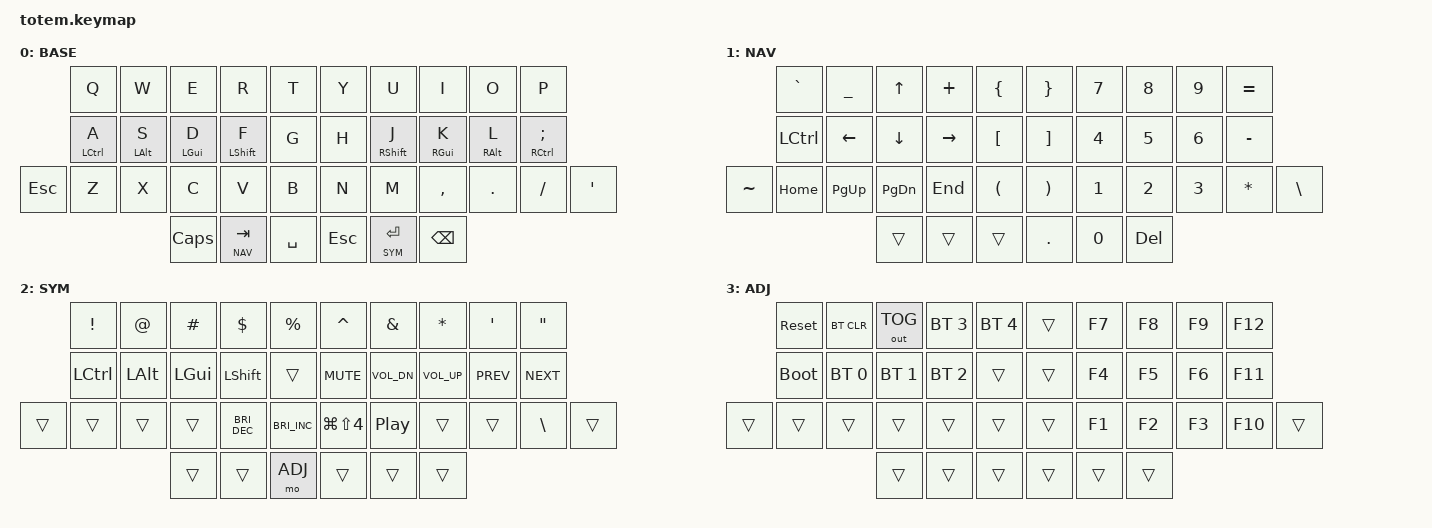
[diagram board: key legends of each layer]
//
//                                                        ▀▀▀▀▀     ▀▀▀▀▀          ▀▀█▀▀
//                                                        ▄▀▀▀▄  ▄  ▄▀▀▀▄  ▄  ▄▀▀▀▄  █  ▄▀▀▀▄
//                                                        █   █  █  █   █  █  █   █  █  █   █
//                                                         ▀▀▀   █   ▀▀▀   █   ▀▀▀   ▀   ▀▀▀
//                                                               █      ▄▄▄█▄▄▄    █   █  
//                                                               ▀      █  █  █     █▄█
//                                                             ▀▀▀▀▀    █  █  █      ▀
//                                                                      ▀  ▀  ▀
//
// ▄▄▄▄▄▄▄▄▄▄▄▄▄▄▄▄▄▄▄▄▄▄▄▄▄▄▄▄▄▄▄▄▄▄▄▄▄▄▄▄▄▄▄▄▄▄▄▄▄▄▄▄▄▄▄▄▄▄▄▄▄▄▄▄▄▄▄▄▄▄▄▄▄▄▄▄▄▄▄▄▄▄▄▄▄▄▄▄▄▄▄▄▄▄▄▄▄▄▄▄▄▄▄▄▄▄▄▄▄▄▄▄▄▄▄▄▄▄▄▄▄▄▄▄▄▄▄▄▄▄▄▄▄▄▄▄▄▄▄▄▄▄▄▄▄▄▄▄▄
//
// TOTEM Keymap — macOS optimized with RU/EN support
// 
// Home Row Mods (при удержании):
//   A = Control (⌃)
//   S = Option (⌥) 
//   D = Command (⌘)
//   F = Shift (⇧)
//   J = Shift (⇧)
//   K = Command (⌘)
//   L = Option (⌥)
//   ; = Control (⌃)
//
// Переключение RU/EN: Caps Lock (левый thumb)
// Настройка macOS: System Settings → Keyboard → Input Sources → "Use Caps Lock key to switch..."
//
// ▄▄▄▄▄▄▄▄▄▄▄▄▄▄▄▄▄▄▄▄▄▄▄▄▄▄▄▄▄▄▄▄▄▄▄▄▄▄▄▄▄▄▄▄▄▄▄▄▄▄▄▄▄▄▄▄▄▄▄▄▄▄▄▄▄▄▄▄▄▄▄▄▄▄▄▄▄▄▄▄▄▄▄▄▄▄▄▄▄▄▄▄▄▄▄▄▄▄▄▄▄▄▄▄▄▄▄▄▄▄▄▄▄▄▄▄▄▄▄▄▄▄▄▄▄▄▄▄▄▄▄▄▄▄▄▄▄▄▄▄▄▄▄▄▄▄▄▄▄

#include <behaviors.dtsi>
#include <dt-bindings/zmk/bt.h>
#include <dt-bindings/zmk/keys.h>
#include <dt-bindings/zmk/outputs.h>

#define BASE 0
#define NAV  1
#define SYM  2
#define ADJ  3

&mt {
    quick-tap-ms = <150>;
    global-quick-tap;
    flavor = "tap-preferred";
    tapping-term-ms = <170>;
};

/ {
    combos {
        compatible = "zmk,combos";

        // Tab по Q+W
        combo_tab {
            timeout-ms = <60>;
            key-positions = <0 1>;
            bindings = <&kp TAB>;
            require-prior-idle-ms = <120>;
        };

        // Тире по L+/
        dash {
            bindings = <&kp MINUS>;
            key-positions = <19 31>;
            timeout-ms = <70>;
        };

        // Тильда по Q+Z
        tilde_combo {
            bindings = <&kp TILDE>;
            key-positions = <0 20>;
            timeout-ms = <60>;
            require-prior-idle-ms = <100>;
        };

        // Enter по D+F+G (левая рука)
        enter_combo {
            bindings = <&kp ENTER>;
            key-positions = <13 12 11>;
            timeout-ms = <70>;
            require-prior-idle-ms = <100>;
        };

        // Enter по H+J+K (правая рука)
        enter_right_combo {
            bindings = <&kp ENTER>;
            key-positions = <16 18 17>;
            timeout-ms = <70>;
            require-prior-idle-ms = <100>;
        };

        // Русская Ъ — по I+O
        russian_letter_hard_sign {
            bindings = <&kp RIGHT_BRACKET>;
            key-positions = <8 9>;
            timeout-ms = <20>;
            require-prior-idle-ms = <100>;
        };

        // Русская Х — по U+I
        russian_letter_x {
            bindings = <&kp LEFT_BRACKET>;
            key-positions = <8 7>;
            require-prior-idle-ms = <100>;
            timeout-ms = <20>;
        };

        // Русская Ё — по Esc+Q (или можно другую комбинацию)
        russian_letter_yo {
            bindings = <&kp GRAVE>;
            key-positions = <20 0>;
            timeout-ms = <50>;
            require-prior-idle-ms = <100>;
        };
    };

    behaviors {
        // Home row mod для левой руки
        hml: home_row_mod_left {
            compatible = "zmk,behavior-hold-tap";
            label = "HOME_ROW_MOD_LEFT";
            bindings = <&kp>, <&kp>;
            #binding-cells = <2>;
            tapping-term-ms = <280>;
            quick-tap-ms = <175>;
            flavor = "balanced";
            hold-trigger-key-positions = <5 6 7 8 9 15 16 17 18 19 25 26 27 28 29 30 31 33 34 35>;
            require-prior-idle-ms = <150>;
            hold-trigger-on-release;
        };

        // Home row mod для правой руки
        hmr: home_row_mod_right {
            compatible = "zmk,behavior-hold-tap";
            label = "HOME_ROW_MOD_RIGHT";
            bindings = <&kp>, <&kp>;
            #binding-cells = <2>;
            tapping-term-ms = <280>;
            quick-tap-ms = <175>;
            flavor = "balanced";
            hold-trigger-key-positions = <0 1 2 3 4 10 11 12 13 14 20 21 22 23 24 25 32 33 34>;
            require-prior-idle-ms = <150>;
            hold-trigger-on-release;
        };

        // Для thumb клавиш — быстрее срабатывание
        mt_thumb: mt_thumb {
            compatible = "zmk,behavior-hold-tap";
            label = "MT_THUMB";
            bindings = <&kp>, <&kp>;
            #binding-cells = <2>;
            quick-tap-ms = <220>;
            flavor = "balanced";
            tapping-term-ms = <200>;
            require-prior-idle-ms = <0>;
        };
    };

    keymap {
        compatible = "zmk,keymap";

        // ▄▄▄▄▄▄▄▄▄▄▄▄▄▄▄▄▄▄▄▄▄▄▄▄▄▄▄▄▄▄▄▄▄▄▄▄▄▄▄▄▄▄▄▄▄▄▄▄▄▄▄▄▄▄▄▄▄▄▄▄▄▄▄▄▄▄▄▄▄▄▄▄▄▄▄▄▄▄▄▄▄▄▄▄▄▄▄▄▄▄▄▄▄▄▄▄▄▄▄▄▄▄▄▄▄▄▄▄▄▄▄▄▄▄▄▄▄▄▄▄▄▄▄▄▄▄▄▄▄▄▄▄▄▄▄▄▄▄▄▄▄▄▄▄▄▄▄▄▄
        // Layer 0: BASE — QWERTY с Home Row Mods для macOS
        // ▄▄▄▄▄▄▄▄▄▄▄▄▄▄▄▄▄▄▄▄▄▄▄▄▄▄▄▄▄▄▄▄▄▄▄▄▄▄▄▄▄▄▄▄▄▄▄▄▄▄▄▄▄▄▄▄▄▄▄▄▄▄▄▄▄▄▄▄▄▄▄▄▄▄▄▄▄▄▄▄▄▄▄▄▄▄▄▄▄▄▄▄▄▄▄▄▄▄▄▄▄▄▄▄▄▄▄▄▄▄▄▄▄▄▄▄▄▄▄▄▄▄▄▄▄▄▄▄▄▄▄▄▄▄▄▄▄▄▄▄▄▄▄▄▄▄▄▄▄

        base_layer {
            label = "BASE";
            //             ┏━━━━━━━━━━━┳━━━━━━━━━━━┳━━━━━━━━━━━┳━━━━━━━━━━━┳━━━━━━━━━━━┓   ┏━━━━━━━━━━━┳━━━━━━━━━━━┳━━━━━━━━━━━┳━━━━━━━━━━━┳━━━━━━━━━━━┓
            //             ┃     Q     ┃     W     ┃     E     ┃     R     ┃     T     ┃   ┃     Y     ┃     U     ┃     I     ┃     O     ┃     P     ┃
            //             ┃     Й     ┃     Ц     ┃     У     ┃     К     ┃     Е     ┃   ┃     Н     ┃     Г     ┃     Ш     ┃     Щ     ┃     З     ┃
            //             ┣━━━━━━━━━━━╋━━━━━━━━━━━╋━━━━━━━━━━━╋━━━━━━━━━━━╋━━━━━━━━━━━┫   ┣━━━━━━━━━━━╋━━━━━━━━━━━╋━━━━━━━━━━━╋━━━━━━━━━━━╋━━━━━━━━━━━┫
            //             ┃   A/⌃     ┃   S/⌥     ┃   D/⌘     ┃   F/⇧     ┃     G     ┃   ┃     H     ┃   J/⇧     ┃   K/⌘     ┃   L/⌥     ┃   ;/⌃     ┃
            //             ┃     Ф     ┃     Ы     ┃     В     ┃     А     ┃     П     ┃   ┃     Р     ┃     О     ┃     Л     ┃     Д     ┃     Ж     ┃
            // ┏━━━━━━━━━━━╋━━━━━━━━━━━╋━━━━━━━━━━━╋━━━━━━━━━━━╋━━━━━━━━━━━╋━━━━━━━━━━━┫   ┣━━━━━━━━━━━╋━━━━━━━━━━━╋━━━━━━━━━━━╋━━━━━━━━━━━╋━━━━━━━━━━━╋━━━━━━━━━━━┓
            // ┃    ESC    ┃     Z     ┃     X     ┃     C     ┃     V     ┃     B     ┃   ┃     N     ┃     M     ┃     ,     ┃     .     ┃     /     ┃     '     ┃
            // ┃           ┃     Я     ┃     Ч     ┃     С     ┃     М     ┃     И     ┃   ┃     Т     ┃     Ь     ┃     Б     ┃     Ю     ┃     .     ┃     Э     ┃
            // ┗━━━━━━━━━━━┻━━━━━━━━━━━┻━━━━━━━━━━━╋━━━━━━━━━━━╋━━━━━━━━━━━╋━━━━━━━━━━━┫   ┣━━━━━━━━━━━╋━━━━━━━━━━━╋━━━━━━━━━━━╋━━━━━━━━━━━┻━━━━━━━━━━━┻━━━━━━━━━━━┛
            //                                     ┃  CAPS/⇪   ┃  TAB/NAV  ┃   SPACE   ┃   ┃    ESC    ┃ ENTER/SYM ┃   BSPC    ┃
            //                                     ┃   RU/EN   ┃           ┃           ┃   ┃           ┃           ┃           ┃
            //                                     ┗━━━━━━━━━━━┻━━━━━━━━━━━┻━━━━━━━━━━━┛   ┗━━━━━━━━━━━┻━━━━━━━━━━━┻━━━━━━━━━━━┛

            bindings = <
                         &kp Q            &kp W            &kp E            &kp R            &kp T        &kp Y    &kp U            &kp I            &kp O            &kp P
                         &hml LCTRL A     &hml LALT S      &hml LGUI D      &hml LSHFT F     &kp G        &kp H    &hmr RSHFT J     &hmr RGUI K      &hmr RALT L      &hmr RCTRL SEMI
&kp ESC                  &kp Z            &kp X            &kp C            &kp V            &kp B        &kp N    &kp M            &kp COMMA        &kp DOT          &kp FSLH          &kp SQT
                                                           &kp CAPS         &lt NAV TAB      &kp SPACE    &kp ESC  &lt SYM RET      &kp BSPC
            >;
        };

        // ▄▄▄▄▄▄▄▄▄▄▄▄▄▄▄▄▄▄▄▄▄▄▄▄▄▄▄▄▄▄▄▄▄▄▄▄▄▄▄▄▄▄▄▄▄▄▄▄▄▄▄▄▄▄▄▄▄▄▄▄▄▄▄▄▄▄▄▄▄▄▄▄▄▄▄▄▄▄▄▄▄▄▄▄▄▄▄▄▄▄▄▄▄▄▄▄▄▄▄▄▄▄▄▄▄▄▄▄▄▄▄▄▄▄▄▄▄▄▄▄▄▄▄▄▄▄▄▄▄▄▄▄▄▄▄▄▄▄▄▄▄▄▄▄▄▄▄▄▄
        // Layer 1: NAV — Навигация + Цифры
        // ▄▄▄▄▄▄▄▄▄▄▄▄▄▄▄▄▄▄▄▄▄▄▄▄▄▄▄▄▄▄▄▄▄▄▄▄▄▄▄▄▄▄▄▄▄▄▄▄▄▄▄▄▄▄▄▄▄▄▄▄▄▄▄▄▄▄▄▄▄▄▄▄▄▄▄▄▄▄▄▄▄▄▄▄▄▄▄▄▄▄▄▄▄▄▄▄▄▄▄▄▄▄▄▄▄▄▄▄▄▄▄▄▄▄▄▄▄▄▄▄▄▄▄▄▄▄▄▄▄▄▄▄▄▄▄▄▄▄▄▄▄▄▄▄▄▄▄▄▄

        nav_layer {
            label = "NAV";
            //             ┏━━━━━━━━━━━┳━━━━━━━━━━━┳━━━━━━━━━━━┳━━━━━━━━━━━┳━━━━━━━━━━━┓   ┏━━━━━━━━━━━┳━━━━━━━━━━━┳━━━━━━━━━━━┳━━━━━━━━━━━┳━━━━━━━━━━━┓
            //             ┃     `     ┃     _     ┃     ↑     ┃     +     ┃     {     ┃   ┃     }     ┃     7     ┃     8     ┃     9     ┃     =     ┃
            //             ┣━━━━━━━━━━━╋━━━━━━━━━━━╋━━━━━━━━━━━╋━━━━━━━━━━━╋━━━━━━━━━━━┫   ┣━━━━━━━━━━━╋━━━━━━━━━━━╋━━━━━━━━━━━╋━━━━━━━━━━━╋━━━━━━━━━━━┫
            //             ┃    ⌃      ┃     ←     ┃     ↓     ┃     →     ┃     [     ┃   ┃     ]     ┃     4     ┃     5     ┃     6     ┃     -     ┃
            // ┏━━━━━━━━━━━╋━━━━━━━━━━━╋━━━━━━━━━━━╋━━━━━━━━━━━╋━━━━━━━━━━━╋━━━━━━━━━━━┫   ┣━━━━━━━━━━━╋━━━━━━━━━━━╋━━━━━━━━━━━╋━━━━━━━━━━━╋━━━━━━━━━━━╋━━━━━━━━━━━┓
            // ┃     ~     ┃   HOME    ┃   PG UP   ┃   PG DN   ┃    END    ┃     (     ┃   ┃     )     ┃     1     ┃     2     ┃     3     ┃     *     ┃     \     ┃
            // ┗━━━━━━━━━━━┻━━━━━━━━━━━┻━━━━━━━━━━━╋━━━━━━━━━━━╋━━━━━━━━━━━╋━━━━━━━━━━━┫   ┣━━━━━━━━━━━╋━━━━━━━━━━━╋━━━━━━━━━━━╋━━━━━━━━━━━┻━━━━━━━━━━━┻━━━━━━━━━━━┛
            //                                     ┃           ┃   ▼▼▼     ┃           ┃   ┃     .     ┃     0     ┃    DEL    ┃
            //                                     ┗━━━━━━━━━━━┻━━━━━━━━━━━┻━━━━━━━━━━━┛   ┗━━━━━━━━━━━┻━━━━━━━━━━━┻━━━━━━━━━━━┛

            bindings = <
                &kp GRAVE   &kp UNDER       &kp UP          &kp PLUS         &kp LBRC     &kp RBRC   &kp N7  &kp N8  &kp N9  &kp EQUAL
                &kp LCTRL   &kp LEFT        &kp DOWN        &kp RIGHT        &kp LBKT     &kp RBKT   &kp N4  &kp N5  &kp N6  &kp MINUS
&kp TILDE       &kp HOME    &kp PG_UP       &kp PG_DN       &kp END          &kp LPAR     &kp RPAR   &kp N1  &kp N2  &kp N3  &kp ASTRK   &kp BSLH
                                            &trans          &trans           &trans       &kp DOT    &kp N0  &kp DEL
            >;
        };

        // ▄▄▄▄▄▄▄▄▄▄▄▄▄▄▄▄▄▄▄▄▄▄▄▄▄▄▄▄▄▄▄▄▄▄▄▄▄▄▄▄▄▄▄▄▄▄▄▄▄▄▄▄▄▄▄▄▄▄▄▄▄▄▄▄▄▄▄▄▄▄▄▄▄▄▄▄▄▄▄▄▄▄▄▄▄▄▄▄▄▄▄▄▄▄▄▄▄▄▄▄▄▄▄▄▄▄▄▄▄▄▄▄▄▄▄▄▄▄▄▄▄▄▄▄▄▄▄▄▄▄▄▄▄▄▄▄▄▄▄▄▄▄▄▄▄▄▄▄▄
        // Layer 2: SYM — Символы + Медиа
        // ▄▄▄▄▄▄▄▄▄▄▄▄▄▄▄▄▄▄▄▄▄▄▄▄▄▄▄▄▄▄▄▄▄▄▄▄▄▄▄▄▄▄▄▄▄▄▄▄▄▄▄▄▄▄▄▄▄▄▄▄▄▄▄▄▄▄▄▄▄▄▄▄▄▄▄▄▄▄▄▄▄▄▄▄▄▄▄▄▄▄▄▄▄▄▄▄▄▄▄▄▄▄▄▄▄▄▄▄▄▄▄▄▄▄▄▄▄▄▄▄▄▄▄▄▄▄▄▄▄▄▄▄▄▄▄▄▄▄▄▄▄▄▄▄▄▄▄▄▄

        sym_layer {
            label = "SYM";
            //             ┏━━━━━━━━━━━┳━━━━━━━━━━━┳━━━━━━━━━━━┳━━━━━━━━━━━┳━━━━━━━━━━━┓   ┏━━━━━━━━━━━┳━━━━━━━━━━━┳━━━━━━━━━━━┳━━━━━━━━━━━┳━━━━━━━━━━━┓
            //             ┃     !     ┃     @     ┃     #     ┃     $     ┃     %     ┃   ┃     ^     ┃     &     ┃     *     ┃     '     ┃     "     ┃
            //             ┣━━━━━━━━━━━╋━━━━━━━━━━━╋━━━━━━━━━━━╋━━━━━━━━━━━╋━━━━━━━━━━━┫   ┣━━━━━━━━━━━╋━━━━━━━━━━━╋━━━━━━━━━━━╋━━━━━━━━━━━╋━━━━━━━━━━━┫
            //             ┃    ⌃      ┃    ⌥      ┃    ⌘      ┃    ⇧      ┃           ┃   ┃   MUTE    ┃  VOL DN   ┃  VOL UP   ┃   PREV    ┃   NEXT    ┃
            // ┏━━━━━━━━━━━╋━━━━━━━━━━━╋━━━━━━━━━━━╋━━━━━━━━━━━╋━━━━━━━━━━━╋━━━━━━━━━━━┫   ┣━━━━━━━━━━━╋━━━━━━━━━━━╋━━━━━━━━━━━╋━━━━━━━━━━━╋━━━━━━━━━━━╋━━━━━━━━━━━┓
            // ┃           ┃           ┃           ┃   BRI-    ┃   BRI+    ┃           ┃   ┃  SCRSHOT  ┃   PLAY    ┃           ┃           ┃     \     ┃           ┃
            // ┗━━━━━━━━━━━┻━━━━━━━━━━━┻━━━━━━━━━━━╋━━━━━━━━━━━╋━━━━━━━━━━━╋━━━━━━━━━━━┫   ┣━━━━━━━━━━━╋━━━━━━━━━━━╋━━━━━━━━━━━╋━━━━━━━━━━━┻━━━━━━━━━━━┻━━━━━━━━━━━┛
            //                                     ┃           ┃           ┃    ADJ    ┃   ┃           ┃   ▼▼▼     ┃           ┃
            //                                     ┗━━━━━━━━━━━┻━━━━━━━━━━━┻━━━━━━━━━━━┛   ┗━━━━━━━━━━━┻━━━━━━━━━━━┻━━━━━━━━━━━┛

            bindings = <
        &kp EXCL   &kp AT     &kp HASH      &kp DLLR       &kp PRCNT         &kp CARET       &kp AMPS      &kp ASTRK     &kp SQT     &kp DQT
        &kp LCTRL  &kp LALT   &kp LGUI      &kp LSHFT      &trans            &kp C_MUTE      &kp C_VOL_DN  &kp C_VOL_UP  &kp C_PREV  &kp C_NEXT
&trans  &trans     &trans     &trans        &kp C_BRI_DEC  &kp C_BRI_INC     &kp LG(LS(N4))  &kp C_PP      &trans        &trans      &kp BSLH    &trans
                              &trans        &trans         &mo ADJ           &trans          &trans        &trans
            >;
        };

        // ▄▄▄▄▄▄▄▄▄▄▄▄▄▄▄▄▄▄▄▄▄▄▄▄▄▄▄▄▄▄▄▄▄▄▄▄▄▄▄▄▄▄▄▄▄▄▄▄▄▄▄▄▄▄▄▄▄▄▄▄▄▄▄▄▄▄▄▄▄▄▄▄▄▄▄▄▄▄▄▄▄▄▄▄▄▄▄▄▄▄▄▄▄▄▄▄▄▄▄▄▄▄▄▄▄▄▄▄▄▄▄▄▄▄▄▄▄▄▄▄▄▄▄▄▄▄▄▄▄▄▄▄▄▄▄▄▄▄▄▄▄▄▄▄▄▄▄▄▄
        // Layer 3: ADJ — Bluetooth + F-клавиши
        // ▄▄▄▄▄▄▄▄▄▄▄▄▄▄▄▄▄▄▄▄▄▄▄▄▄▄▄▄▄▄▄▄▄▄▄▄▄▄▄▄▄▄▄▄▄▄▄▄▄▄▄▄▄▄▄▄▄▄▄▄▄▄▄▄▄▄▄▄▄▄▄▄▄▄▄▄▄▄▄▄▄▄▄▄▄▄▄▄▄▄▄▄▄▄▄▄▄▄▄▄▄▄▄▄▄▄▄▄▄▄▄▄▄▄▄▄▄▄▄▄▄▄▄▄▄▄▄▄▄▄▄▄▄▄▄▄▄▄▄▄▄▄▄▄▄▄▄▄▄

        adjust_layer {
            label = "ADJ";
            //             ┏━━━━━━━━━━━┳━━━━━━━━━━━┳━━━━━━━━━━━┳━━━━━━━━━━━┳━━━━━━━━━━━┓   ┏━━━━━━━━━━━┳━━━━━━━━━━━┳━━━━━━━━━━━┳━━━━━━━━━━━┳━━━━━━━━━━━┓
            //             ┃   RESET   ┃ BT CLEAR  ┃  OUT TOG  ┃   BT 3    ┃   BT 4    ┃   ┃           ┃    F7     ┃    F8     ┃    F9     ┃    F12    ┃
            //             ┣━━━━━━━━━━━╋━━━━━━━━━━━╋━━━━━━━━━━━╋━━━━━━━━━━━╋━━━━━━━━━━━┫   ┣━━━━━━━━━━━╋━━━━━━━━━━━╋━━━━━━━━━━━╋━━━━━━━━━━━╋━━━━━━━━━━━┫
            //             ┃ BOOTLOAD  ┃   BT 0    ┃   BT 1    ┃   BT 2    ┃           ┃   ┃           ┃    F4     ┃    F5     ┃    F6     ┃    F11    ┃
            // ┏━━━━━━━━━━━╋━━━━━━━━━━━╋━━━━━━━━━━━╋━━━━━━━━━━━╋━━━━━━━━━━━╋━━━━━━━━━━━┫   ┣━━━━━━━━━━━╋━━━━━━━━━━━╋━━━━━━━━━━━╋━━━━━━━━━━━╋━━━━━━━━━━━╋━━━━━━━━━━━┓
            // ┃           ┃           ┃           ┃           ┃           ┃           ┃   ┃           ┃    F1     ┃    F2     ┃    F3     ┃    F10    ┃           ┃
            // ┗━━━━━━━━━━━┻━━━━━━━━━━━┻━━━━━━━━━━━╋━━━━━━━━━━━╋━━━━━━━━━━━╋━━━━━━━━━━━┫   ┣━━━━━━━━━━━╋━━━━━━━━━━━╋━━━━━━━━━━━╋━━━━━━━━━━━┻━━━━━━━━━━━┻━━━━━━━━━━━┛
            //                                     ┃           ┃           ┃           ┃   ┃           ┃           ┃           ┃
            //                                     ┗━━━━━━━━━━━┻━━━━━━━━━━━┻━━━━━━━━━━━┛   ┗━━━━━━━━━━━┻━━━━━━━━━━━┻━━━━━━━━━━━┛

            bindings = <
        &sys_reset   &bt BT_CLR    &out OUT_TOG  &bt BT_SEL 3  &bt BT_SEL 4    &trans  &kp F7  &kp F8  &kp F9  &kp F12
        &bootloader  &bt BT_SEL 0  &bt BT_SEL 1  &bt BT_SEL 2  &trans          &trans  &kp F4  &kp F5  &kp F6  &kp F11
&trans  &trans       &trans        &trans        &trans        &trans          &trans  &kp F1  &kp F2  &kp F3  &kp F10  &trans
                                   &trans        &trans        &trans          &trans  &trans  &trans
            >;
        };
    };
};
